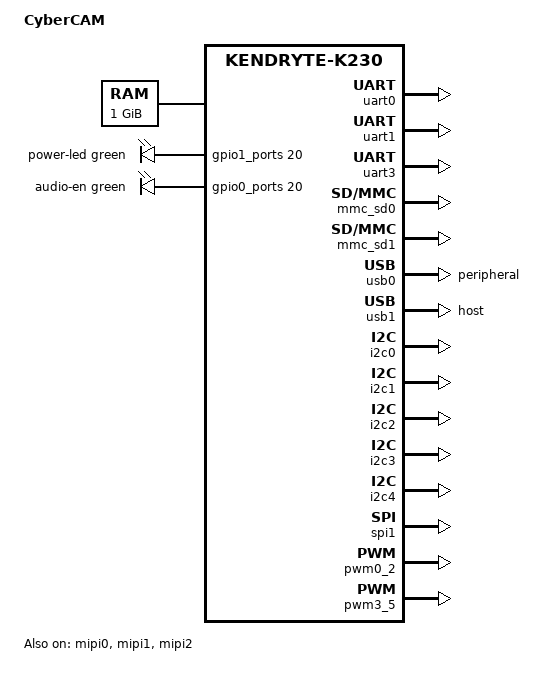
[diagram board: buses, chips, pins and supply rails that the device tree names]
// SPDX-License-Identifier: GPL-2.0 OR MIT
/*
 * Copyright (C) 2024 Yangyu Chen <cyy@cyyself.name>
 */

#include "k230.dtsi"
#include <dt-bindings/leds/common.h>

/ {
	model = "CyberCAM";
	compatible = "canaan,canmv-k230", "canaan,kendryte-k230";

	aliases {
		serial3 = &uart3;
		// i2c0 = &i2c4;
		// i2c1 = &i2c3;
		mmc0 = &mmc_sd0;
		mmc1 = &mmc_sd1;
	};

	chosen {
		stdout-path = "serial0:115200n8";
	};

	ddr: memory@0 {
		device_type = "memory";
		reg = <0x0 0x0 0x0 0x40000000>;
	};

	sound {
		status                      = "okay";
		compatible                  = "canaan,k230-audio-inno";
		canaan,model                = "K230_I2S_INNO";
		canaan,k230-i2s-controller  = <&i2s>;
		canaan,k230-audio-codec     = <&inno_codec>;
	};
};

&uart0 {
	status = "okay";
};
&uart1 {
	status = "okay";
};
&uart3 {
	status = "okay";
};
&mmc_sd0{
	status = "okay";
	no-1-8-v;
	cap-sd-highspeed;
	rx_delay_line = <0x0d>;
	tx_delay_line = <0xb0>;
	clocks = <&sd0_cclk_gate>,<&sd0_cclk_gate>;
	clock-names = "core", "bus";
};
&mmc_sd1{
	status = "okay";
	no-1-8-v;
	cap-sd-highspeed;
	mshc_ctrl_r = <0x00>;
};
&usb0 {
	dr_mode = "peripheral";
	status = "okay";
};
&usb1 {
	dr_mode = "host";
	status = "okay";
};
&i2c0
{
	status = "okay";
};
&i2c1
{
	status = "okay";
};
&i2c2
{
	status = "okay";
};
&i2c3 {
	status = "okay";
};
&i2c4
{
	status = "okay";
};


&vo {
	vth_line = <10>;
};

&mipi0 {
	/* CSI2 -> logical slot0 */
	id = <2>;
	reg = <0x0 0x9000a800 0x0 0x800>;
	interrupts = <121 IRQ_TYPE_LEVEL_HIGH>;
	resets = <&sysctl_reset K230_RESET_CSI2_REG_OFFSET K230_RESET_CSI2_TYPE
			  K230_RESET_CSI2_DONE_BIT K230_RESET_CSI2_ASSERT_BIT>,
		 <&sysctl_reset K230_RESET_M2_REG_OFFSET K230_RESET_M2_TYPE
			  K230_RESET_M2_DONE_BIT K230_RESET_M2_ASSERT_BIT>;
	reset-gpios = <&gpio1_ports 30 GPIO_ACTIVE_HIGH>;
	status = "okay";
};

&mipi1 {
	/* CSI0 -> logical slot1; disabled by default */
	id = <0>;
	reg = <0x0 0x90009800 0x0 0x800>;
	interrupts = <115 IRQ_TYPE_LEVEL_HIGH>;
	resets = <&sysctl_reset K230_RESET_CSI0_REG_OFFSET K230_RESET_CSI0_TYPE
			  K230_RESET_CSI0_DONE_BIT K230_RESET_CSI0_ASSERT_BIT>,
		 <&sysctl_reset K230_RESET_M0_REG_OFFSET K230_RESET_M0_TYPE
			  K230_RESET_M0_DONE_BIT K230_RESET_M0_ASSERT_BIT>;
	reset-gpios = <&gpio0_ports 10 GPIO_ACTIVE_HIGH>;
	status = "okay";
};

&mipi2 {
	/* CSI1 -> logical slot2; disabled by default */
	id = <1>;
	reg = <0x0 0x9000a000 0x0 0x800>;
	interrupts = <118 IRQ_TYPE_LEVEL_HIGH>;
	resets = <&sysctl_reset K230_RESET_CSI1_REG_OFFSET K230_RESET_CSI1_TYPE
			  K230_RESET_CSI1_DONE_BIT K230_RESET_CSI1_ASSERT_BIT>,
		 <&sysctl_reset K230_RESET_M1_REG_OFFSET K230_RESET_M1_TYPE
			  K230_RESET_M1_DONE_BIT K230_RESET_M1_ASSERT_BIT>;
	reset-gpios = <&gpio1_ports 13 GPIO_ACTIVE_HIGH>;
	status = "okay";
};

&v4l2isp {
	/*
	 * Pre-write three sensors; only enabled mipi.N slots count.
	 * With mipi1/mipi2 disabled: 1 cam / 3 video nodes.
	 */
	dev0-sensor-name = "gc2093";
	dev0-sensor-mode = <0>;
	dev0-sensor-i2c-bus = <4>; /* CSI2 */
	dev1-sensor-name = "gc2093";
	dev1-sensor-mode = <0>;
	dev1-sensor-i2c-bus = <0>; /* CSI0 */
	dev2-sensor-name = "gc2093";
	dev2-sensor-mode = <0>;
	dev2-sensor-i2c-bus = <1>; /* CSI1 */
};


/{
	leds: leds@0 {
		compatible = "gpio-leds";
		status = "okay";
		power-led {
			function = LED_FUNCTION_STATUS;
			color = <LED_COLOR_ID_GREEN>;
			gpios = <&gpio1_ports 20 GPIO_ACTIVE_HIGH>;
			default-state = "on";
		};
		audio-en {
			function = LED_FUNCTION_STATUS;
			color = <LED_COLOR_ID_GREEN>;
			gpios = <&gpio0_ports 20 GPIO_ACTIVE_HIGH>;
			default-state = "on";
		};
	};
};


&spi1 {
	status = "okay";
	num-cs = <2>;
	spi-max-frequency = <10000000>;
};
&iomux {
	pwm2_pins_init: pwm2_pins_init {
        pins = K230_IO46;
        function = "alt0";
    };
	pwm2_pins: pwm2_pins {
        pins = K230_IO46;
        function = K230_IO46_PWM2;
    };
	pwm3_pins_init: pwm3_pins_init {
        pins = K230_IO47;
        function = "alt0";
    };
	pwm3_pins: pwm3_pins {
        pins = K230_IO47;
        function = K230_IO47_PWM3;
    };
	pwm5_pins_init: pwm5_pins_init {
        pins = K230_IO25;
        function = "alt0";
    };
	pwm5_pins: pwm5_pins {
        pins = K230_IO25;
        function = K230_IO25_PWM5;
    };

};
&pwm0_2{
	status = "okay";
	pinctrl-names = "init","default";
    pinctrl-0 = <&pwm2_pins_init>;
    pinctrl-1 = <&pwm2_pins>;
	#pwm-cells = <3>;
};
&pwm3_5{
	status = "okay";
	pinctrl-names = "init","default";
    pinctrl-0 = <&pwm3_pins_init>, <&pwm5_pins_init>;
    pinctrl-1 = <&pwm3_pins>, <&pwm5_pins>;
	#pwm-cells = <3>;
};
